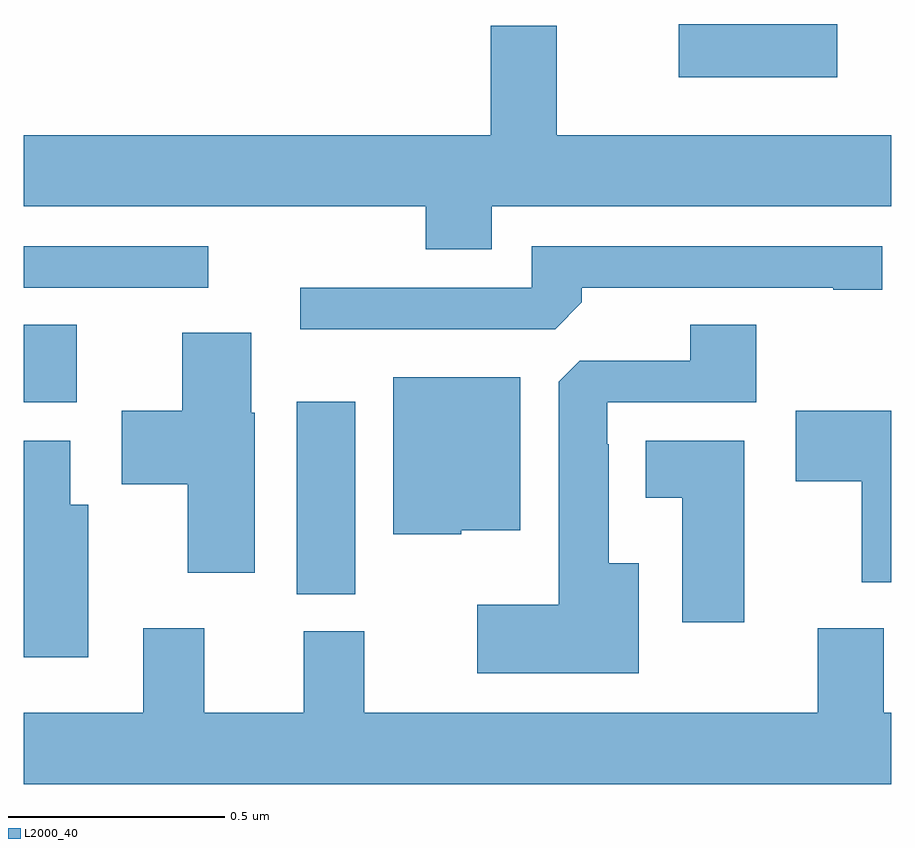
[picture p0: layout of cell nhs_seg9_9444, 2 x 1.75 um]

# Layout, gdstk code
import gdstk
lib = gdstk.Library(unit=1e-6, precision=1e-09)
def R(c, l, rs):  # rectangles x0, y0, x1, y1
    for r in rs: c.add(gdstk.rectangle(r[:2], r[2:], *l))
def P(c, l, *ps):  # polygons
    for p in ps: c.add(gdstk.Polygon(p, *l))
L2000_40 = (2000, 40)

nhs_seg9_9444 = lib.new_cell('nhs_seg9_9444')
R(nhs_seg9_9444, L2000_40, [(230.63,1202.185,230.764,1202.629), (230,1202.628,230.122,1202.807), (230,1202.892,230.425,1202.988), (231.51,1203.377,231.875,1203.5)])
P(nhs_seg9_9444, L2000_40, [(231.079,1203.08),(232,1203.08),(232,1203.244),(231.229,1203.244),(231.229,1203.496),(231.077,1203.496),(231.077,1203.244),(230,1203.244),(230,1203.08),(230.927,1203.08),(230.927,1202.981),(231.079,1202.981)],
  [(231.287,1202.858),(231.287,1202.892),(231.866,1202.892),(231.866,1202.887),(231.979,1202.887),(231.979,1202.988),(231.171,1202.988),(231.171,1202.892),(230.637,1202.892),(230.637,1202.796),(231.225,1202.796)],
  [(231.418,1202.257),(231.349,1202.257),(231.349,1202.531),(231.345,1202.531),(231.345,1202.628),(231.689,1202.628),(231.689,1202.807),(231.536,1202.807),(231.536,1202.724),(231.282,1202.724),(231.233,1202.675),(231.233,1202.161),(231.045,1202.161),(231.045,1202.003),(231.418,1202.003)],
  [(230.533,1202.604),(230.524,1202.604),(230.524,1202.788),(230.366,1202.788),(230.366,1202.608),(230.226,1202.608),(230.226,1202.439),(230.378,1202.439),(230.378,1202.235),(230.533,1202.235)],
  [(231.009,1202.333),(231.145,1202.333),(231.145,1202.686),(230.852,1202.686),(230.852,1202.324),(231.009,1202.324)],
  [(232,1202.608),(231.78,1202.608),(231.78,1202.446),(231.932,1202.446),(231.932,1202.213),(232,1202.213)],
  [(231.661,1202.539),(231.434,1202.539),(231.434,1202.408),(231.518,1202.408),(231.518,1202.121),(231.661,1202.121)],
  [(230.149,1202.392),(230.107,1202.392),(230.107,1202.539),(230,1202.539),(230,1202.04),(230.149,1202.04)],
  [(232,1201.912),(231.983,1201.912),(231.983,1202.107),(231.83,1202.107),(231.83,1201.912),(230.785,1201.912),(230.785,1202.1),(230.645,1202.1),(230.645,1201.912),(230.416,1201.912),(230.416,1202.107),(230.276,1202.107),(230.276,1201.912),(230,1201.912),(230,1201.748),(232,1201.748)])

lib.write_gds('nhs_seg9_9444.gds')
